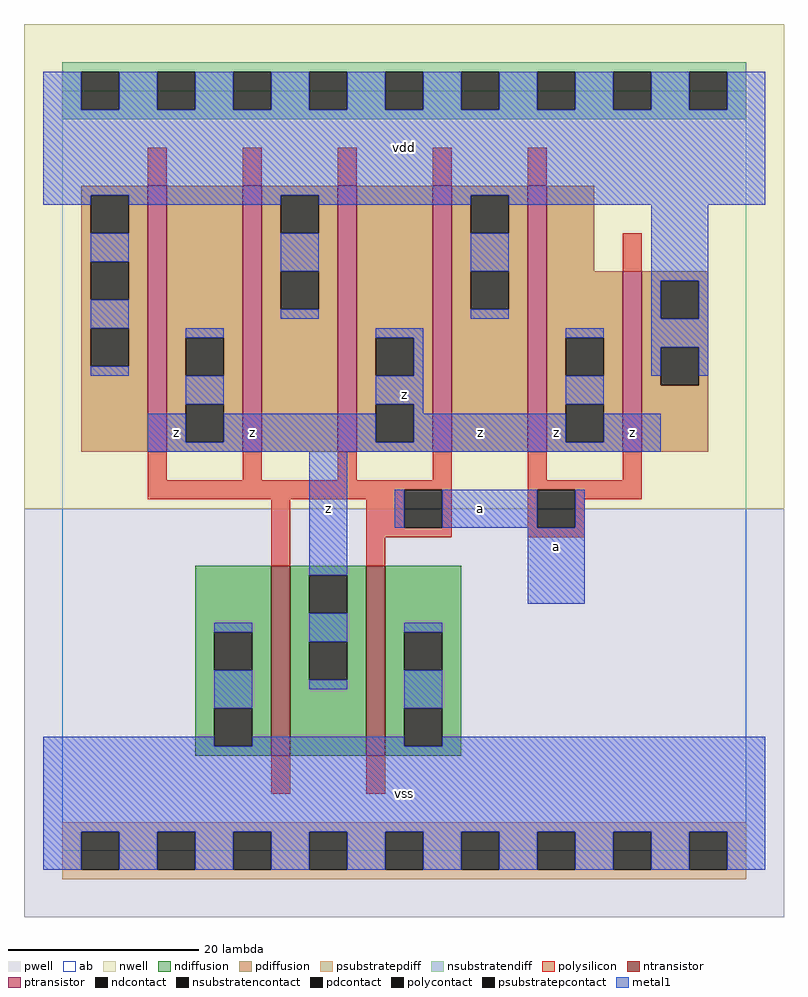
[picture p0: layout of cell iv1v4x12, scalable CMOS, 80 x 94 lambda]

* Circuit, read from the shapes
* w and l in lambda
.subckt iv1v4x12 a vdd vss z
M1 z a vss vss nfet w=20 l=2 m=2
M2 z a vdd vdd pfet w=28 l=2 m=5
M3 vdd a z vdd pfet w=19 l=2
.ends

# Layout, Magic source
magic
tech scmos
<< ab >>
rect 0 0 72 80
<< pwell >>
rect -4 -7 76 36
<< nwell >>
rect -4 36 76 87
<< polysilicon >>
rect 9 70 11 74
rect 19 70 21 74
rect 29 70 31 74
rect 39 70 41 74
rect 49 70 51 74
rect 59 61 61 65
rect 9 39 11 42
rect 19 39 21 42
rect 29 39 31 42
rect 39 39 41 42
rect 9 38 41 39
rect 9 37 36 38
rect 22 30 24 37
rect 32 34 36 37
rect 40 34 41 38
rect 32 33 41 34
rect 49 39 51 42
rect 59 39 61 42
rect 49 38 61 39
rect 49 34 50 38
rect 54 37 61 38
rect 54 34 55 37
rect 49 33 55 34
rect 32 30 34 33
rect 22 6 24 10
rect 32 6 34 10
<< ndiffusion >>
rect 14 23 22 30
rect 14 19 16 23
rect 20 19 22 23
rect 14 15 22 19
rect 14 11 16 15
rect 20 11 22 15
rect 14 10 22 11
rect 24 29 32 30
rect 24 25 26 29
rect 30 25 32 29
rect 24 22 32 25
rect 24 18 26 22
rect 30 18 32 22
rect 24 10 32 18
rect 34 23 42 30
rect 34 19 36 23
rect 40 19 42 23
rect 34 15 42 19
rect 34 11 36 15
rect 40 11 42 15
rect 34 10 42 11
<< pdiffusion >>
rect 2 69 9 70
rect 2 65 3 69
rect 7 65 9 69
rect 2 62 9 65
rect 2 58 3 62
rect 7 58 9 62
rect 2 55 9 58
rect 2 51 3 55
rect 7 51 9 55
rect 2 42 9 51
rect 11 54 19 70
rect 11 50 13 54
rect 17 50 19 54
rect 11 47 19 50
rect 11 43 13 47
rect 17 43 19 47
rect 11 42 19 43
rect 21 69 29 70
rect 21 65 23 69
rect 27 65 29 69
rect 21 61 29 65
rect 21 57 23 61
rect 27 57 29 61
rect 21 42 29 57
rect 31 54 39 70
rect 31 50 33 54
rect 37 50 39 54
rect 31 47 39 50
rect 31 43 33 47
rect 37 43 39 47
rect 31 42 39 43
rect 41 69 49 70
rect 41 65 43 69
rect 47 65 49 69
rect 41 61 49 65
rect 41 57 43 61
rect 47 57 49 61
rect 41 42 49 57
rect 51 61 56 70
rect 51 54 59 61
rect 51 50 53 54
rect 57 50 59 54
rect 51 47 59 50
rect 51 43 53 47
rect 57 43 59 47
rect 51 42 59 43
rect 61 60 68 61
rect 61 56 63 60
rect 67 56 68 60
rect 61 53 68 56
rect 61 49 63 53
rect 67 49 68 53
rect 61 42 68 49
<< metal1 >>
rect -2 78 2 82
rect 6 78 10 82
rect 14 78 18 82
rect 22 78 26 82
rect 30 78 34 82
rect 38 78 42 82
rect 46 78 50 82
rect 54 78 58 82
rect 62 78 66 82
rect 70 78 74 82
rect -2 69 74 78
rect -2 68 3 69
rect 7 68 23 69
rect 3 62 7 65
rect 3 55 7 58
rect 27 68 43 69
rect 23 61 27 65
rect 23 56 27 57
rect 47 68 74 69
rect 43 61 47 65
rect 43 56 47 57
rect 62 60 68 68
rect 62 56 63 60
rect 67 56 68 60
rect 3 50 7 51
rect 13 54 17 55
rect 13 47 17 50
rect 9 43 13 46
rect 33 54 38 55
rect 37 50 38 54
rect 33 47 38 50
rect 17 43 33 46
rect 37 46 38 47
rect 53 54 57 55
rect 62 53 68 56
rect 62 50 63 53
rect 53 47 57 50
rect 67 50 68 53
rect 37 43 53 46
rect 57 43 63 46
rect 9 42 63 43
rect 26 29 30 42
rect 35 34 36 38
rect 40 34 50 38
rect 54 34 55 38
rect 49 26 55 34
rect 16 23 20 24
rect 16 15 20 19
rect 26 22 30 25
rect 26 17 30 18
rect 36 23 40 24
rect -2 11 16 12
rect 36 15 40 19
rect 20 11 36 12
rect 40 11 74 12
rect -2 2 74 11
rect -2 -2 2 2
rect 6 -2 10 2
rect 14 -2 18 2
rect 22 -2 26 2
rect 30 -2 34 2
rect 38 -2 42 2
rect 46 -2 50 2
rect 54 -2 58 2
rect 62 -2 66 2
rect 70 -2 74 2
<< ntransistor >>
rect 22 10 24 30
rect 32 10 34 30
<< ptransistor >>
rect 9 42 11 70
rect 19 42 21 70
rect 29 42 31 70
rect 39 42 41 70
rect 49 42 51 70
rect 59 42 61 61
<< polycontact >>
rect 36 34 40 38
rect 50 34 54 38
<< ndcontact >>
rect 16 19 20 23
rect 16 11 20 15
rect 26 25 30 29
rect 26 18 30 22
rect 36 19 40 23
rect 36 11 40 15
<< pdcontact >>
rect 3 65 7 69
rect 3 58 7 62
rect 3 51 7 55
rect 13 50 17 54
rect 13 43 17 47
rect 23 65 27 69
rect 23 57 27 61
rect 33 50 37 54
rect 33 43 37 47
rect 43 65 47 69
rect 43 57 47 61
rect 53 50 57 54
rect 53 43 57 47
rect 63 56 67 60
rect 63 49 67 53
<< psubstratepcontact >>
rect 2 -2 6 2
rect 10 -2 14 2
rect 18 -2 22 2
rect 26 -2 30 2
rect 34 -2 38 2
rect 42 -2 46 2
rect 50 -2 54 2
rect 58 -2 62 2
rect 66 -2 70 2
<< nsubstratencontact >>
rect 2 78 6 82
rect 10 78 14 82
rect 18 78 22 82
rect 26 78 30 82
rect 34 78 38 82
rect 42 78 46 82
rect 50 78 54 82
rect 58 78 62 82
rect 66 78 70 82
<< psubstratepdiff >>
rect 0 2 72 3
rect 0 -2 2 2
rect 6 -2 10 2
rect 14 -2 18 2
rect 22 -2 26 2
rect 30 -2 34 2
rect 38 -2 42 2
rect 46 -2 50 2
rect 54 -2 58 2
rect 62 -2 66 2
rect 70 -2 72 2
rect 0 -3 72 -2
<< nsubstratendiff >>
rect 0 82 72 83
rect 0 78 2 82
rect 6 78 10 82
rect 14 78 18 82
rect 22 78 26 82
rect 30 78 34 82
rect 38 78 42 82
rect 46 78 50 82
rect 54 78 58 82
rect 62 78 66 82
rect 70 78 72 82
rect 0 77 72 78
<< labels >>
rlabel metal1 12 44 12 44 6 z
rlabel metal1 28 36 28 36 6 z
rlabel metal1 20 44 20 44 6 z
rlabel metal1 36 6 36 6 6 vss
rlabel metal1 44 36 44 36 6 a
rlabel metal1 52 32 52 32 6 a
rlabel metal1 44 44 44 44 6 z
rlabel metal1 52 44 52 44 6 z
rlabel metal1 36 48 36 48 6 z
rlabel metal1 36 74 36 74 6 vdd
rlabel metal1 60 44 60 44 6 z
<< end >>
